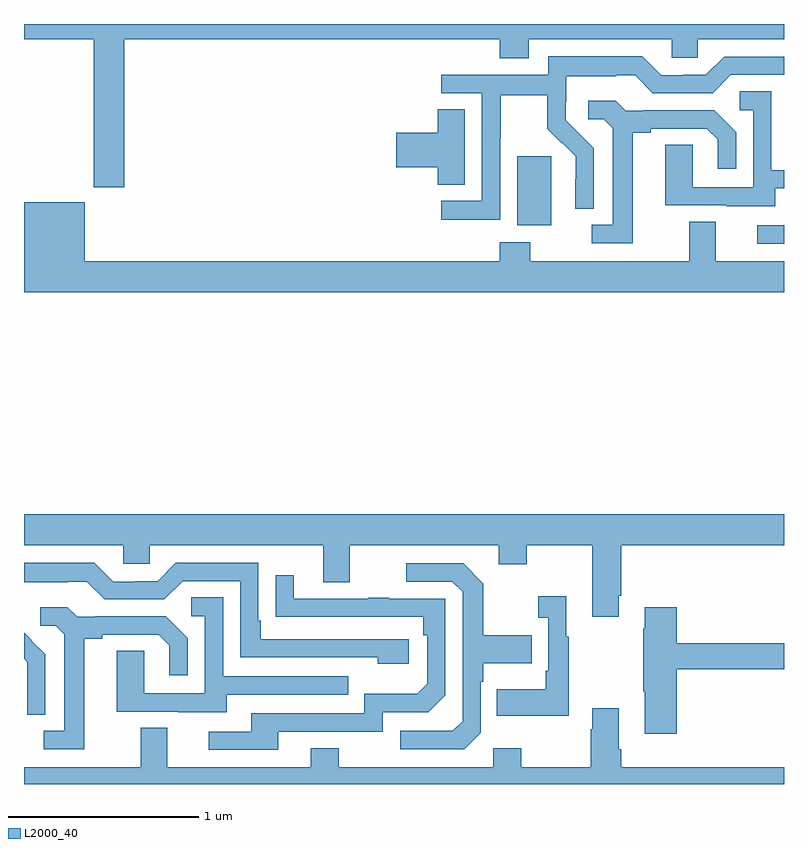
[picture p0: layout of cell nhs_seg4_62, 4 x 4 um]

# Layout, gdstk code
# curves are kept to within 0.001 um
import gdstk
lib = gdstk.Library(unit=1e-6, precision=1e-09)
def R(c, l, rs):  # rectangles x0, y0, x1, y1
    for r in rs: c.add(gdstk.rectangle(r[:2], r[2:], *l))
def P(c, l, *ps):  # polygons
    for p in ps: c.add(gdstk.Polygon(p, *l))
L2000_40 = (2000, 40)

nhs_seg4_62 = lib.new_cell('nhs_seg4_62')
R(nhs_seg4_62, L2000_40, [(116.859,795.744,117,795.84), (115.595,795.842,115.774,796.203)])
P(nhs_seg4_62, L2000_40, [(113.528,796.82),(115.505,796.82),(115.505,796.721),(115.657,796.721),(115.657,796.82),(116.409,796.82),(116.409,796.722),(116.547,796.722),(116.547,796.82),(117,796.82),(117,796.9),(113,796.9),(113,796.82),(113.368,796.82),(113.368,796.041),(113.528,796.041)],
  [(115.506,796.3),(115.509,796.3),(115.509,796.524),(115.753,796.524),(115.753,796.349),(115.83,796.272),(115.833,796.275),(115.904,796.205),(115.904,796.082),(115.902,796.082),(115.902,795.928),(115.998,795.928),(115.998,796.246),(115.852,796.394),(115.852,796.491),(115.854,796.491),(115.854,796.625),(116.117,796.625),(116.117,796.629),(116.217,796.629),(116.31,796.536),(116.625,796.536),(116.721,796.632),(117,796.632),(117,796.728),(116.685,796.728),(116.589,796.632),(116.471,796.632),(116.471,796.629),(116.355,796.629),(116.255,796.729),(115.758,796.729),(115.758,796.632),(115.197,796.632),(115.197,796.536),(115.41,796.536),(115.41,795.969),(115.197,795.969),(115.197,795.871),(115.506,795.871)],
  [(116.953,796.035),(117,796.035),(117,796.131),(116.934,796.131),(116.934,796.547),(116.766,796.547),(116.766,796.446),(116.838,796.446),(116.838,796.041),(116.52,796.041),(116.52,796.265),(116.375,796.265),(116.375,795.945),(116.699,795.945),(116.699,795.941),(116.953,795.941)],
  [(116.203,796.328),(116.299,796.328),(116.299,796.35),(116.594,796.35),(116.651,796.293),(116.651,796.137),(116.748,796.137),(116.748,796.33),(116.632,796.446),(116.26,796.446),(116.26,796.443),(116.166,796.443),(116.114,796.495),(115.971,796.495),(115.971,796.398),(116.052,796.398),(116.099,796.351),(116.099,795.843),(115.989,795.843),(115.989,795.747),(116.203,795.747)],
  [(115.321,796.451),(115.178,796.451),(115.178,796.328),(114.96,796.328),(114.96,796.145),(115.178,796.145),(115.178,796.054),(115.321,796.054)],
  [(117,795.652),(116.641,795.652),(116.641,795.86),(116.501,795.86),(116.501,795.652),(115.665,795.652),(115.665,795.751),(115.505,795.751),(115.505,795.652),(113.32,795.652),(113.32,795.961),(113,795.961),(113,795.488),(117,795.488)],
  [(116.131,793.891),(116.144,793.891),(116.144,794.156),(117,794.156),(117,794.32),(113,794.32),(113,794.156),(113.523,794.156),(113.523,794.058),(113.661,794.058),(113.661,794.156),(114.575,794.156),(114.575,793.962),(114.715,793.962),(114.715,794.156),(115.499,794.156),(115.499,794.057),(115.647,794.057),(115.647,794.156),(115.991,794.156),(115.991,793.779),(116.131,793.779)],
  [(115.024,793.662),(114.247,793.662),(114.247,793.759),(114.234,793.759),(114.234,794.064),(113.799,794.064),(113.703,793.968),(113.585,793.968),(113.585,793.965),(113.469,793.965),(113.369,794.065),(113,794.065),(113,793.961),(113.231,793.961),(113.231,793.965),(113.331,793.965),(113.424,793.872),(113.739,793.872),(113.835,793.968),(114.138,793.968),(114.138,793.566),(114.863,793.566),(114.863,793.532),(115.024,793.532)],
  [(115.404,793.17),(115.404,793.439),(115.417,793.439),(115.417,793.535),(115.673,793.535),(115.673,793.683),(115.417,793.683),(115.417,793.955),(115.311,794.061),(115.011,794.061),(115.011,793.965),(115.254,793.965),(115.308,793.911),(115.308,793.23),(115.257,793.179),(114.981,793.179),(114.981,793.083),(115.317,793.083)],
  [(114.337,793.176),(114.888,793.176),(114.888,793.278),(115.128,793.278),(115.218,793.368),(115.218,793.875),(114.923,793.875),(114.923,793.88),(114.811,793.88),(114.811,793.875),(114.421,793.875),(114.421,793.999),(114.325,793.999),(114.325,793.78),(115.102,793.779),(115.102,793.682),(115.122,793.682),(115.122,793.428),(115.069,793.375),(114.792,793.375),(114.792,793.272),(114.197,793.272),(114.197,793.176),(113.973,793.176),(113.973,793.08),(114.337,793.08)],
  [(115.867,793.675),(115.855,793.675),(115.855,793.888),(115.707,793.888),(115.707,793.775),(115.758,793.775),(115.758,793.495),(115.746,793.495),(115.746,793.399),(115.489,793.399),(115.489,793.259),(115.867,793.259)],
  [(114.067,793.371),(114.707,793.371),(114.707,793.467),(114.048,793.467),(114.048,793.883),(113.88,793.883),(113.88,793.782),(113.952,793.782),(113.952,793.377),(113.634,793.377),(113.634,793.601),(113.489,793.601),(113.489,793.281),(113.813,793.281),(113.813,793.277),(114.067,793.277)],
  [(113.317,793.664),(113.413,793.664),(113.413,793.686),(113.708,793.686),(113.765,793.629),(113.765,793.473),(113.862,793.473),(113.862,793.666),(113.746,793.782),(113.374,793.782),(113.374,793.779),(113.28,793.779),(113.228,793.831),(113.085,793.831),(113.085,793.734),(113.166,793.734),(113.213,793.687),(113.213,793.179),(113.103,793.179),(113.103,793.083),(113.317,793.083)],
  [(116.435,793.504),(117,793.504),(117,793.64),(116.435,793.64),(116.435,793.831),(116.267,793.831),(116.267,793.718),(116.26,793.718),(116.26,793.387),(116.267,793.387),(116.267,793.164),(116.435,793.164)],
  [(113.112,793.582),(113.039,793.655),(113.04,793.656),(113,793.696),(113,793.559),(113.018,793.541),(113.018,793.418),(113.016,793.418),(113.016,793.264),(113.112,793.264)],
  [(117,792.988),(116.144,792.988),(116.144,793.084),(116.131,793.084),(116.131,793.3),(115.991,793.3),(115.991,793.187),(115.984,793.187),(115.984,792.988),(115.617,792.988),(115.617,793.087),(115.47,793.087),(115.47,792.988),(114.657,792.988),(114.657,793.087),(114.509,793.087),(114.509,792.988),(113.755,792.988),(113.755,793.196),(113.615,793.196),(113.615,792.988),(113,792.988),(113,792.9),(117,792.9)])

lib.write_gds('nhs_seg4_62.gds')
